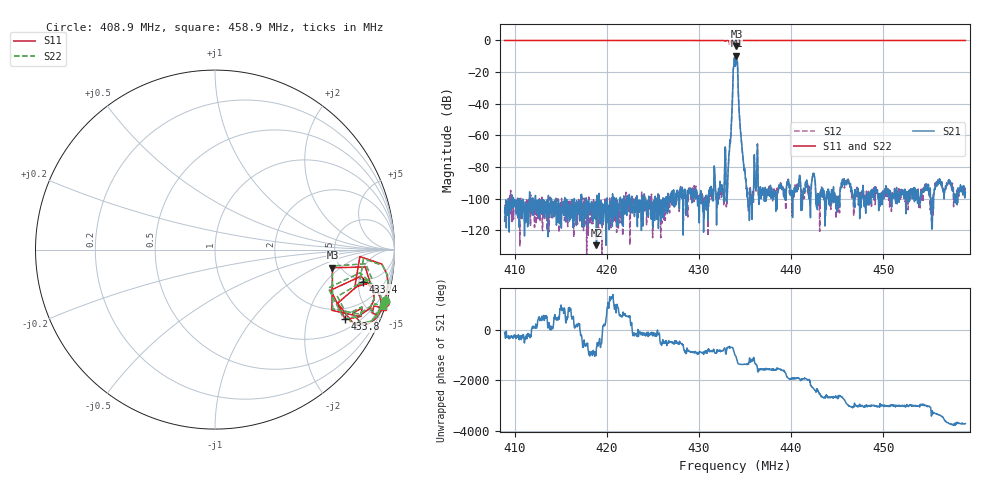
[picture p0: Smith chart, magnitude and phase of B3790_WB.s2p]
! Matrix data file written by TouchstoneData, EPCOS AG
! FILENAME: "B3790_WB.s2p"
! COMMENT: "1 Dec 2004 S11-NoP:1601;Caltype:FULL2PORT;P"
! INFO: nport=2, nfreq=1601
! DATE: "Wed Sep 19 15:42:11 2012"
! USER: "Wilfried Schott"
! port | pin | signal
!  1  |  2  |  IN
!  2  |  5  |  OUT
!  3  |  7  |  Coupling coil
# MHZ S MA R 50
! freq  magS11 angS11  magS21 angS21  magS12 angS12  magS22 angS22
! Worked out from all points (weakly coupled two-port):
!   1601 points, 408.9 MHz to 458.9 MHz, reference 50 ohm
!   highest |S21| = -9.74 dB at 434.1 MHz (marker M1); lowest = -129.6 dB at 418.9 MHz (marker M2)
!   lowest |S11| = -3.6 dB at 434.1 MHz (marker M3), VSWR 4.92, Z = 217 - j78.2 ohm
!   |S11| at or under -10 dB: nowhere
!   |S22| runs from -3.6 to -0.1 dB; largest |S21 - S12| = 0.00092
!   S11 on the Smith chart (normalised r, x): 408.9 MHz: 0.24, -6.64; 433.4 MHz: 4.62, -5.63; 433.8 MHz: 1.42, -3.44; 458.9 MHz: 0.23, -5.96
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408.92  0.9893 -17.1  3.774e-06 -89.0  1.809e-06 172.1  0.9877 -16.8
417.2638  0.9889 -17.5  1.368e-05 154.4  6.894e-06 135.3  0.9875 -17.1
418.8888  0.9891 -17.6  3.327e-07 15.2  6.389e-06 147.4  0.9877 -17.2
425.6075  0.9889 -18.0  1.137e-06 -164.0  6.224e-06 -178.0  0.9874 -17.7
432.545  0.9862 -20.2  1.742e-05 -102.2  1.514e-05 -88.4  0.9843 -19.9
433.17  0.9761 -22.8  6.806e-05 50.3  8.306e-05 51.0  0.9745 -22.6
433.3575  0.8414 -12.2  0.000715 23.0  0.000707 23.1  0.854 -11.5
433.6075  0.9733 -22.3  0.007301 37.1  0.007281 37.3  0.9723 -22.0
433.8263  0.8236 -28.2  0.2164 -151.7  0.2157 -151.6  0.8158 -28.3
433.92  0.9089 -14.0  0.1712 88.9  0.1708 89.0  0.9063 -12.9
433.9825  0.923 -20.9  0.1594 62.8  0.1589 62.9  0.9224 -20.0
434.0763  0.6623 -8.8  0.3259 -35.2  0.3251 -35.2  0.6593 -8.0
434.2638  0.9653 -7.9  0.03046 106.9  0.0304 107.0  0.9654 -8.0
434.5138  0.9873 -13.9  0.001401 84.4  0.001398 84.1  0.9858 -13.6
434.67  0.9882 -14.9  0.0004204 79.8  0.0004087 79.3  0.9867 -14.6
434.8575  0.9886 -15.6  0.0001223 80.2  0.0001249 78.0  0.9871 -15.3
435.0763  0.9884 -16.1  3.834e-05 80.9  4.082e-05 88.1  0.9869 -15.7
436.2638  0.988 -17.4  4.896e-05 54.0  4.044e-05 52.3  0.9863 -17.0
436.67  0.9886 -17.3  2.37e-05 -131.7  2.064e-05 -139.5  0.987 -16.9
442.2638  0.9858 -18.1  3.699e-05 -102.9  3.838e-05 -87.9  0.9843 -17.7
450.6075  0.9881 -18.6  1.239e-05 -137.9  2.029e-05 -148.3  0.9865 -18.2
458.92  0.9877 -19.0  1.578e-05 -117.6  1.376e-05 -118.3  0.9863 -18.6
